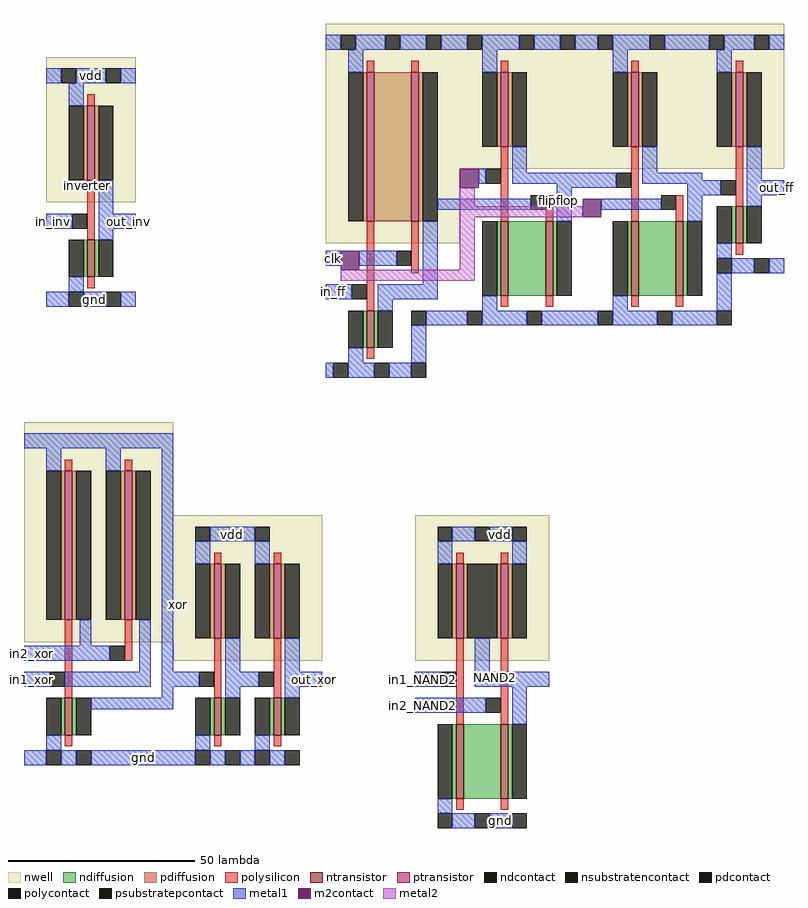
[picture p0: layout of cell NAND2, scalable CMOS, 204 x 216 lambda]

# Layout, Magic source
magic
tech scmos
<< nwell >>
rect -26 -25 -2 14
rect 49 -16 172 23
rect 49 -36 85 -16
rect -32 -109 8 -84
rect -32 -143 48 -109
rect 8 -148 48 -143
rect 73 -148 109 -109
<< ntransistor >>
rect -15 -45 -13 -35
rect 96 -50 98 -30
rect 108 -50 110 -30
rect 131 -50 133 -30
rect 143 -50 145 -30
rect 159 -36 161 -26
rect 60 -64 62 -54
rect -21 -168 -19 -158
rect 19 -168 21 -158
rect 35 -168 37 -158
rect 84 -185 86 -165
rect 96 -185 98 -165
<< ptransistor >>
rect -15 -19 -13 1
rect 60 -30 62 10
rect 72 -30 74 10
rect 96 -10 98 10
rect 131 -10 133 10
rect 159 -10 161 10
rect -21 -137 -19 -97
rect -5 -137 -3 -97
rect 19 -142 21 -122
rect 35 -142 37 -122
rect 84 -142 86 -122
rect 96 -142 98 -122
<< ndiffusion >>
rect -16 -45 -15 -35
rect -13 -45 -12 -35
rect 95 -50 96 -30
rect 98 -50 108 -30
rect 110 -50 111 -30
rect 130 -50 131 -30
rect 133 -50 143 -30
rect 145 -50 146 -30
rect 158 -36 159 -26
rect 161 -36 162 -26
rect 59 -64 60 -54
rect 62 -64 63 -54
rect -22 -168 -21 -158
rect -19 -168 -18 -158
rect 18 -168 19 -158
rect 21 -168 22 -158
rect 34 -168 35 -158
rect 37 -168 38 -158
rect 83 -185 84 -165
rect 86 -185 96 -165
rect 98 -185 99 -165
<< pdiffusion >>
rect -16 -19 -15 1
rect -13 -19 -12 1
rect 59 -30 60 10
rect 62 -30 72 10
rect 74 -30 75 10
rect 95 -10 96 10
rect 98 -10 99 10
rect 130 -10 131 10
rect 133 -10 134 10
rect 158 -10 159 10
rect 161 -10 162 10
rect -22 -137 -21 -97
rect -19 -137 -18 -97
rect -6 -137 -5 -97
rect -3 -137 -2 -97
rect 18 -142 19 -122
rect 21 -142 22 -122
rect 34 -142 35 -122
rect 37 -142 38 -122
rect 83 -142 84 -122
rect 86 -142 87 -122
rect 95 -142 96 -122
rect 98 -142 99 -122
<< ndcontact >>
rect -20 -45 -16 -35
rect -12 -45 -8 -35
rect 91 -50 95 -30
rect 111 -50 115 -30
rect 126 -50 130 -30
rect 146 -50 150 -30
rect 154 -36 158 -26
rect 162 -36 166 -26
rect 55 -64 59 -54
rect 63 -64 67 -54
rect -26 -168 -22 -158
rect -18 -168 -14 -158
rect 14 -168 18 -158
rect 22 -168 26 -158
rect 30 -168 34 -158
rect 38 -168 42 -158
rect 79 -185 83 -165
rect 99 -185 103 -165
<< pdcontact >>
rect -20 -19 -16 1
rect -12 -19 -8 1
rect 55 -30 59 10
rect 75 -30 79 10
rect 91 -10 95 10
rect 99 -10 103 10
rect 126 -10 130 10
rect 134 -10 138 10
rect 154 -10 158 10
rect 162 -10 166 10
rect -26 -137 -22 -97
rect -18 -137 -14 -97
rect -10 -137 -6 -97
rect -2 -137 2 -97
rect 14 -142 18 -122
rect 22 -142 26 -122
rect 30 -142 34 -122
rect 38 -142 42 -122
rect 79 -142 83 -122
rect 87 -142 95 -122
rect 99 -142 103 -122
<< psubstratepcontact >>
rect -20 -53 -16 -49
rect -10 -53 -6 -49
rect 154 -44 158 -40
rect 164 -44 168 -40
rect 72 -58 76 -54
rect 87 -58 91 -54
rect 103 -58 107 -54
rect 122 -58 126 -54
rect 138 -58 142 -54
rect 154 -58 158 -54
rect 51 -72 55 -68
rect 62 -72 66 -68
rect 72 -72 76 -68
rect -26 -176 -22 -172
rect -18 -176 -14 -172
rect 14 -176 18 -172
rect 22 -176 26 -172
rect 30 -176 34 -172
rect 38 -176 42 -172
rect 79 -193 83 -189
rect 89 -193 93 -189
rect 99 -193 103 -189
<< nsubstratencontact >>
rect 53 16 57 20
rect 65 16 69 20
rect 76 16 80 20
rect 87 16 91 20
rect 101 16 105 20
rect 112 16 116 20
rect 122 16 126 20
rect 136 16 140 20
rect 152 16 156 20
rect 164 16 168 20
rect -22 7 -18 11
rect -10 7 -6 11
rect 14 -116 18 -112
rect 30 -116 34 -112
rect 79 -116 83 -112
rect 89 -116 93 -112
rect 99 -116 103 -112
<< polysilicon >>
rect 60 10 62 13
rect 72 10 74 13
rect 96 10 98 13
rect 131 10 133 13
rect 159 10 161 13
rect -15 1 -13 4
rect -15 -35 -13 -19
rect 96 -30 98 -10
rect 108 -30 110 -23
rect 131 -30 133 -10
rect 143 -30 145 -23
rect 159 -26 161 -10
rect -15 -48 -13 -45
rect 60 -54 62 -30
rect 72 -44 74 -30
rect 159 -39 161 -36
rect 96 -53 98 -50
rect 108 -53 110 -50
rect 131 -53 133 -50
rect 143 -53 145 -50
rect 60 -67 62 -64
rect -21 -97 -19 -94
rect -5 -97 -3 -94
rect 19 -122 21 -119
rect 35 -122 37 -119
rect 84 -122 86 -119
rect 96 -122 98 -119
rect -21 -158 -19 -137
rect -5 -148 -3 -137
rect 19 -158 21 -142
rect 35 -158 37 -142
rect 84 -165 86 -142
rect 96 -165 98 -142
rect -21 -171 -19 -168
rect 19 -171 21 -168
rect 35 -171 37 -168
rect 84 -188 86 -185
rect 96 -188 98 -185
<< polycontact >>
rect -19 -32 -15 -28
rect 92 -20 96 -16
rect 127 -21 131 -17
rect 104 -27 108 -23
rect 155 -23 159 -19
rect 139 -27 143 -23
rect 56 -51 60 -47
rect 68 -42 72 -38
rect -25 -155 -21 -151
rect -9 -148 -5 -144
rect 15 -155 19 -151
rect 31 -155 35 -151
rect 80 -155 84 -151
rect 92 -162 96 -158
<< metal1 >>
rect 49 16 53 20
rect 57 16 65 20
rect 69 16 76 20
rect 80 16 87 20
rect 91 16 101 20
rect 105 16 112 20
rect 116 16 122 20
rect 126 16 136 20
rect 140 16 152 20
rect 156 16 164 20
rect 168 16 172 20
rect -26 7 -22 11
rect -18 7 -10 11
rect -6 7 -2 11
rect 55 10 59 16
rect 91 10 95 16
rect 126 10 130 16
rect 154 10 158 16
rect -20 1 -16 7
rect -12 -28 -8 -19
rect -26 -32 -19 -28
rect -12 -32 -2 -28
rect 90 -20 92 -16
rect 99 -17 103 -10
rect 134 -17 138 -10
rect 99 -20 127 -17
rect 111 -21 127 -20
rect 134 -19 150 -17
rect 162 -19 166 -10
rect 134 -20 155 -19
rect 79 -27 104 -24
rect 111 -30 115 -21
rect 146 -23 155 -20
rect 162 -23 172 -19
rect 123 -27 139 -24
rect 146 -30 150 -23
rect 162 -26 166 -23
rect -12 -35 -8 -32
rect 49 -42 53 -38
rect 58 -42 68 -38
rect -20 -49 -16 -45
rect 75 -47 79 -30
rect -26 -53 -20 -49
rect -16 -53 -10 -49
rect -6 -53 -2 -49
rect 49 -51 56 -47
rect 63 -51 79 -47
rect 154 -40 158 -36
rect 158 -44 164 -40
rect 168 -44 172 -40
rect 63 -54 67 -51
rect 91 -54 95 -50
rect 126 -54 130 -50
rect 154 -54 158 -44
rect 76 -58 87 -54
rect 91 -58 103 -54
rect 107 -58 122 -54
rect 126 -58 138 -54
rect 142 -58 154 -54
rect 55 -68 59 -64
rect 72 -68 76 -58
rect 49 -72 51 -68
rect 55 -72 62 -68
rect 66 -72 72 -68
rect -32 -91 8 -87
rect -26 -97 -22 -91
rect -10 -97 -6 -91
rect -17 -144 -14 -137
rect -32 -148 -9 -144
rect -1 -151 2 -137
rect -32 -155 -25 -151
rect -21 -155 2 -151
rect 5 -151 8 -91
rect 18 -116 30 -112
rect 14 -122 18 -116
rect 30 -122 34 -116
rect 83 -116 89 -112
rect 93 -116 99 -112
rect 79 -122 83 -116
rect 99 -122 103 -116
rect 22 -151 26 -142
rect 38 -151 42 -142
rect 89 -151 93 -142
rect 5 -155 15 -151
rect 22 -155 31 -151
rect 38 -155 48 -151
rect 73 -155 80 -151
rect 89 -155 109 -151
rect 5 -158 8 -155
rect 22 -158 26 -155
rect 38 -158 42 -155
rect -14 -161 8 -158
rect 73 -162 92 -158
rect 99 -165 103 -155
rect -26 -172 -22 -168
rect 14 -172 18 -168
rect 30 -172 34 -168
rect -32 -176 -26 -172
rect -22 -176 -18 -172
rect -14 -176 14 -172
rect 18 -176 22 -172
rect 26 -176 30 -172
rect 34 -176 38 -172
rect 79 -189 83 -185
rect 83 -193 89 -189
rect 93 -193 99 -189
<< m2contact >>
rect 85 -21 90 -16
rect 118 -29 123 -24
rect 53 -43 58 -38
<< metal2 >>
rect 85 -26 89 -21
rect 85 -29 118 -26
rect 85 -43 89 -29
rect 53 -46 89 -43
<< labels >>
rlabel space -33 -60 3 19 1 inverter
rlabel space 46 -75 177 26 1 flipflop
rlabel metal1 0 -174 0 -174 1 gnd
rlabel metal1 51 -49 51 -49 1 in_ff
rlabel metal1 51 -40 51 -40 1 clk
rlabel metal1 170 -21 170 -21 1 out_ff
rlabel metal1 -24 -30 -24 -30 1 in_inv
rlabel metal1 -4 -30 -4 -30 1 out_inv
rlabel metal1 -14 9 -14 9 1 vdd
rlabel metal1 -13 -51 -13 -51 1 gnd
rlabel space -36 -187 55 -79 1 xor
rlabel metal1 -30 -146 -30 -146 1 in2_xor
rlabel metal1 -30 -153 -30 -153 1 in1_xor
rlabel metal1 46 -153 46 -153 1 out_xor
rlabel metal1 24 -114 24 -114 1 vdd
rlabel space 69 -201 120 -104 1 NAND2
rlabel metal1 96 -114 96 -114 1 vdd
rlabel metal1 75 -153 75 -153 1 in1_NAND2
rlabel metal1 75 -160 75 -160 1 in2_NAND2
rlabel metal1 96 -191 96 -191 1 gnd
rlabel metal1 107 -153 107 -153 1 out_NAND2
<< end >>
